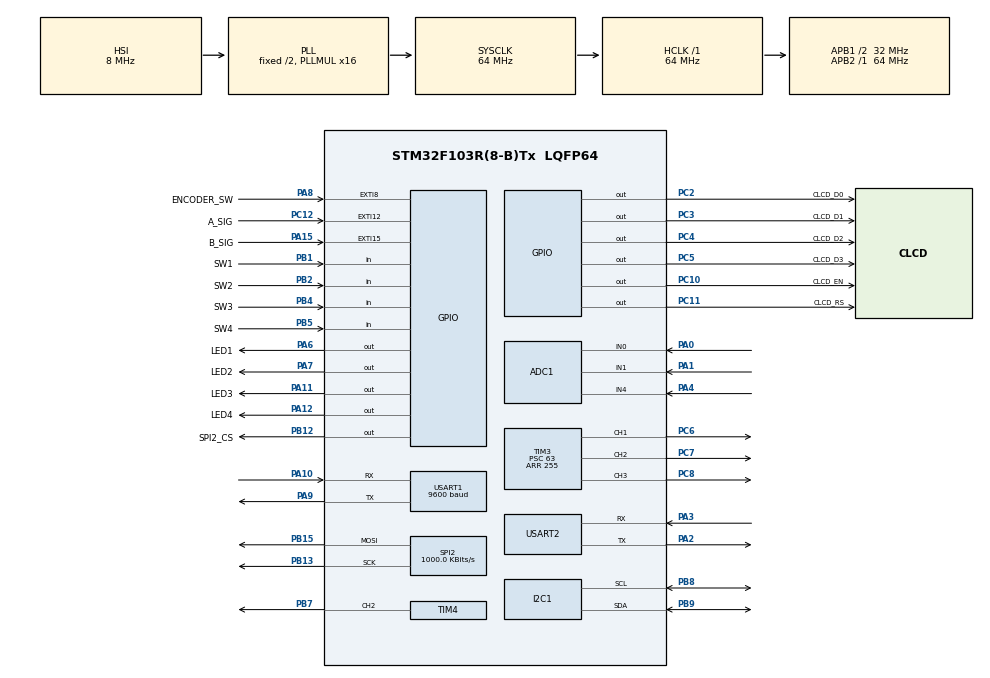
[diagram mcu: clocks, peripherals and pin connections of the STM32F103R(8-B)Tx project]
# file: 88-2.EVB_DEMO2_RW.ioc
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ADC1.Channel-0\#ChannelRegularConversion=ADC_CHANNEL_0
ADC1.Channel-1\#ChannelRegularConversion=ADC_CHANNEL_1
ADC1.Channel-2\#ChannelRegularConversion=ADC_CHANNEL_4
ADC1.ContinuousConvMode=ENABLE
ADC1.NbrOfConversion=3
ADC1.NbrOfConversionFlag=1
ADC1.Rank-0\#ChannelRegularConversion=1
ADC1.Rank-1\#ChannelRegularConversion=2
ADC1.Rank-2\#ChannelRegularConversion=3
ADC1.SamplingTime-0\#ChannelRegularConversion=ADC_SAMPLETIME_239CYCLES_5
ADC1.SamplingTime-1\#ChannelRegularConversion=ADC_SAMPLETIME_239CYCLES_5
ADC1.SamplingTime-2\#ChannelRegularConversion=ADC_SAMPLETIME_239CYCLES_5
ADC1.master=1
Dma.ADC1.0.Direction=DMA_PERIPH_TO_MEMORY
Dma.ADC1.0.Instance=DMA1_Channel1
Dma.ADC1.0.MemDataAlignment=DMA_MDATAALIGN_HALFWORD
Dma.ADC1.0.MemInc=DMA_MINC_ENABLE
Dma.ADC1.0.Mode=DMA_CIRCULAR
Dma.ADC1.0.PeriphDataAlignment=DMA_PDATAALIGN_HALFWORD
Dma.ADC1.0.PeriphInc=DMA_PINC_DISABLE
Dma.ADC1.0.Priority=DMA_PRIORITY_LOW
Dma.Request0=ADC1
I2C1.I2C_Mode=I2C_Fast
Mcu.Family=STM32F1
Mcu.Name=STM32F103R(8-B)Tx
Mcu.Package=LQFP64
NVIC.DMA1_Channel1_IRQn=true\:0\:0\:false\:false\:true\:false\:true\:true
NVIC.EXTI15_10_IRQn=true\:0\:0\:false\:false\:true\:true\:true\:true
NVIC.EXTI9_5_IRQn=true\:0\:0\:false\:false\:true\:true\:true\:true
NVIC.PriorityGroup=NVIC_PRIORITYGROUP_4
NVIC.TIM2_IRQn=true\:0\:0\:false\:false\:true\:true\:true\:true
NVIC.USART1_IRQn=true\:0\:0\:false\:false\:true\:true\:true\:true
NVIC.USART2_IRQn=true\:0\:0\:false\:false\:true\:true\:true\:true
PA0-WKUP.Signal=ADCx_IN0
PA1.Signal=ADCx_IN1
PA10.Mode=Asynchronous
PA10.Signal=USART1_RX
PA11.GPIO_Label=LED3
PA11.Signal=GPIO_Output
PA12.GPIO_Label=LED4
PA12.Signal=GPIO_Output
PA13.Mode=Serial_Wire
PA13.Signal=SYS_JTMS-SWDIO
PA14.Mode=Serial_Wire
PA14.Signal=SYS_JTCK-SWCLK
PA15.GPIO_Label=B_SIG
PA15.Signal=GPXTI15
PA2.Mode=Asynchronous
PA2.Signal=USART2_TX
PA3.Mode=Asynchronous
PA3.Signal=USART2_RX
PA4.Signal=ADCx_IN4
PA6.GPIO_Label=LED1
PA6.Signal=GPIO_Output
PA7.GPIO_Label=LED2
PA7.Signal=GPIO_Output
PA8.GPIO_Label=ENCODER_SW
PA8.GPIO_ModeDefaultEXTI=GPIO_MODE_IT_FALLING
PA8.Signal=GPXTI8
PA9.Mode=Asynchronous
PA9.Signal=USART1_TX
PB1.GPIO_Label=SW1
PB1.Signal=GPIO_Input
PB12.GPIO_Label=SPI2_CS
PB12.Signal=GPIO_Output
PB13.Mode=TX_Only_Simplex_Unidirect_Master
PB13.Signal=SPI2_SCK
PB15.Mode=TX_Only_Simplex_Unidirect_Master
PB15.Signal=SPI2_MOSI
PB2.GPIO_Label=SW2
PB2.Signal=GPIO_Input
PB4.GPIO_Label=SW3
PB4.Signal=GPIO_Input
PB5.GPIO_Label=SW4
PB5.Signal=GPIO_Input
PB7.Signal=S_TIM4_CH2
PB8.Mode=I2C
PB8.Signal=I2C1_SCL
PB9.Mode=I2C
PB9.Signal=I2C1_SDA
PC10.GPIO_Label=CLCD_EN
PC10.Signal=GPIO_Output
PC11.GPIO_Label=CLCD_RS
PC11.Signal=GPIO_Output
PC12.GPIO_Label=A_SIG
PC12.Signal=GPXTI12
PC2.GPIO_Label=CLCD_D0
PC2.Signal=GPIO_Output
PC3.GPIO_Label=CLCD_D1
PC3.Signal=GPIO_Output
PC4.GPIO_Label=CLCD_D2
PC4.Signal=GPIO_Output
PC5.GPIO_Label=CLCD_D3
PC5.Signal=GPIO_Output
PC6.Signal=S_TIM3_CH1
PC7.Signal=S_TIM3_CH2
PC8.Signal=S_TIM3_CH3
ProjectManager.HeapSize=0x200
ProjectManager.StackSize=0x400
ProjectManager.TargetToolchain=STM32CubeIDE
RCC.ADCPresc=RCC_ADCPCLK2_DIV8
RCC.AHBFreq_Value=64000000
RCC.APB1CLKDivider=RCC_HCLK_DIV2
RCC.APB1Freq_Value=32000000
RCC.APB1TimFreq_Value=64000000
RCC.APB2Freq_Value=64000000
RCC.APB2TimFreq_Value=64000000
RCC.HCLKFreq_Value=64000000
RCC.PLLMUL=RCC_PLL_MUL16
RCC.SYSCLKFreq_VALUE=64000000
RCC.SYSCLKSource=RCC_SYSCLKSOURCE_PLLCLK
RCC.USBFreq_Value=64000000
SH.ADCx_IN0.0=ADC1_IN0,IN0
SH.ADCx_IN1.0=ADC1_IN1,IN1
SH.ADCx_IN4.0=ADC1_IN4,IN4
SH.S_TIM3_CH1.0=TIM3_CH1,PWM Generation1 CH1
SH.S_TIM3_CH2.0=TIM3_CH2,PWM Generation2 CH2
SH.S_TIM3_CH3.0=TIM3_CH3,PWM Generation3 CH3
SH.S_TIM4_CH2.0=TIM4_CH2,PWM Generation2 CH2
SPI2.BaudRatePrescaler=SPI_BAUDRATEPRESCALER_32
SPI2.CLKPhase=SPI_PHASE_2EDGE
SPI2.CalculateBaudRate=1000.0 KBits/s
SPI2.Direction=SPI_DIRECTION_2LINES
SPI2.Mode=SPI_MODE_MASTER
SPI2.VirtualType=VM_MASTER
TIM2.AutoReloadPreload=TIM_AUTORELOAD_PRELOAD_ENABLE
TIM2.Period=999
TIM2.Prescaler=63
TIM3.AutoReloadPreload=TIM_AUTORELOAD_PRELOAD_ENABLE
TIM3.Channel-PWM\ Generation1\ CH1=TIM_CHANNEL_1
TIM3.Channel-PWM\ Generation2\ CH2=TIM_CHANNEL_2
TIM3.Channel-PWM\ Generation3\ CH3=TIM_CHANNEL_3
TIM3.CounterMode=TIM_COUNTERMODE_CENTERALIGNED3
TIM3.Period=255
TIM3.Prescaler=63
TIM4.AutoReloadPreload=TIM_AUTORELOAD_PRELOAD_ENABLE
TIM4.Channel-PWM\ Generation2\ CH2=TIM_CHANNEL_2
TIM4.OCPolarity_2=TIM_OCPOLARITY_LOW
TIM4.Period=19999
TIM4.Prescaler=63
TIM4.Pulse-PWM\ Generation2\ CH2=1500
USART1.BaudRate=9600
USART1.VirtualMode=VM_ASYNC
USART2.VirtualMode=VM_ASYNC
VP_TIM2_VS_ClockSourceINT.Mode=Internal
VP_TIM3_VS_ClockSourceINT.Mode=Internal
VP_TIM4_VS_ClockSourceINT.Mode=Internal
board=custom

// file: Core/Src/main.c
/* USER CODE BEGIN Header */
/**
  ******************************************************************************
  * @file           : main.c
  * @brief          : Main program body
  ******************************************************************************
  * @attention
  *
  * Copyright (c) 2026 STMicroelectronics.
  * All rights reserved.
  *
  * This software is licensed under terms that can be found in the LICENSE file
  * in the root directory of this software component.
  * If no LICENSE file comes with this software, it is provided AS-IS.
  *
  ******************************************************************************
  */
/* USER CODE END Header */
#include "main.h"

/* USER CODE BEGIN Includes */
#include <stdio.h>
#include <string.h>
#include "clcd.h"
#include "hdc1080.h"
/* USER CODE END Includes */

/* USER CODE BEGIN PD */
#define STX 0x02
#define R 0x52
#define W 0x57
#define VAR 'V'
#define CDS 'P'
#define TEM 'T'
#define ENCO 'E'
#define SERVO 'S'
#define HD1080 'I'
#define DAC 'D'
#define LED 'L'
#define RGBLED 'M'
#define TSW 'R'
#define CLCD1 '1'
#define CLCD2 '2'
#define ETX 0x03
/* USER CODE END PD */

ADC_HandleTypeDef hadc1;
DMA_HandleTypeDef hdma_adc1;

I2C_HandleTypeDef hi2c1;

SPI_HandleTypeDef hspi2;

TIM_HandleTypeDef htim2;
TIM_HandleTypeDef htim3;
TIM_HandleTypeDef htim4;

UART_HandleTypeDef huart1;
UART_HandleTypeDef huart2;

/* USER CODE BEGIN PV */
//알고리즘 변수
uint8_t sendbuf[10] = {0};
uint8_t P_index = 0;
uint8_t s_index = 0;
uint8_t count =0;

char debouncing_flag = 0;
uint32_t last_time = 0;

uint8_t rx_data1;
uint8_t rx_data2;
uint8_t rx_buffer1[50];
char rx_buffer2[50];
uint8_t rx_index2 = 0;
uint8_t rx_index1 = 0;
volatile uint8_t RX_flag1 = 0;
volatile uint8_t RX_flag2 = 0;

uint16_t DAC_data;
short SERVO_data;
int ENCO_data;
uint32_t W_led_data; // W
uint32_t led_data;

uint8_t led1;
uint8_t led2;
uint8_t led3;
uint8_t led4;

uint16_t servo_pulse = 0;
float DAC_V = 0.0;

char CLCD1_data[17];
char CLCD2_data[17];

char sbuf1[17] = {0};
char sbuf2[17] = {0};
int j = 0;

unsigned char R_LED_data;
unsigned char G_LED_data;
unsigned char B_LED_data;

uint32_t print_pretime =0;

//TC1047
float temp_send;
uint32_t TC1047_temp_data;
int adc_done_flag =0;

//ADC
volatile uint16_t ADC_value[3] = {0};

//HDC1080
float HDC1080_temp;
float temp;
uint8_t humi, bat_stat;
uint32_t HDC1080_temp_data;

//SW_LED
uint8_t LED_data[4];
char sw1_flag = 0 ;
char sw2_flag = 0 ;
char sw3_flag = 0 ;
char sw4_flag = 0 ;
uint32_t sw1_pretime = 0 ;
uint32_t sw2_pretime = 0 ;
uint32_t sw3_pretime = 0 ;
uint32_t sw4_pretime = 0 ;

//encoder
volatile int E_count;
volatile int preE_count =0;

//led
uint8_t T_SW[4];
uint8_t LED_data[4];

//3rgb
uint16_t gtimepulse[3];

//time
uint32_t TimerCount;
char act_mode = 0;

uint16_t packet_length = 0;  // ETX가 있어야 할 인덱스 = 길이 + 4
uint8_t calculate_cout = 0;  // 길이 바이트로 ETX 위치를 계산했는지
/* USER CODE END PV */

void SystemClock_Config(void);
static void MX_GPIO_Init(void);
static void MX_DMA_Init(void);
static void MX_ADC1_Init(void);
static void MX_USART1_UART_Init(void);
static void MX_USART2_UART_Init(void);
static void MX_I2C1_Init(void);
static void MX_TIM3_Init(void);
static void MX_TIM2_Init(void);
static void MX_TIM4_Init(void);
static void MX_SPI2_Init(void);
/* USER CODE BEGIN PFP */
void __io_putchar(int ch)
{
	if(ch == '\n')
	{
		HAL_UART_Transmit (&huart2, (uint8_t*) "\r", 1, 0xffff);
	}

	HAL_UART_Transmit (&huart2, (uint8_t*) &ch, 1, 0xffff);
}
void DAC7512_write (unsigned short data)
{
    uint8_t buff[2];
    HAL_GPIO_WritePin(SPI2_CS_GPIO_Port, SPI2_CS_Pin, GPIO_PIN_RESET); //cs chip selct을 low로 선택
    buff[0] = (uint8_t) (data >> 8);
    buff[1] = (uint8_t) data;
    HAL_SPI_Transmit(&hspi2, buff, 2, 1000); // 할함수 spi로 전송 spi2로 buff 배열을 2바이트만큼 1000ms 기둘
    HAL_GPIO_WritePin(SPI2_CS_GPIO_Port, SPI2_CS_Pin, GPIO_PIN_SET); //cs chip selct을 high로 선택
}
/* USER CODE END PFP */

/* USER CODE BEGIN 0 */
// R 패킷(MCU → 앱) 확인용 디버그 로그: 1이면 보낸 패킷을 USART2(Tera Term)에 16진수로 출력
// 평소에는 0 (50 ms마다 출력되면 W 패킷 로그가 묻힘)
#define R_LOG 0
static void R_LOG_PRINT(uint8_t *buf, uint8_t len)
{
#if R_LOG
	printf("R> ");
	for (int i = 0; i < len; i++) printf("%02X ", buf[i]);
	printf("\n");
#endif
}

/* USER CODE END 0 */

int main(void)
{

  /* MCU Configuration--------------------------------------------------------*/

  /* Reset of all peripherals, Initializes the Flash interface and the Systick. */
  HAL_Init();

  /* Configure the system clock */
  SystemClock_Config();

  /* Initialize all configured peripherals */
  MX_GPIO_Init();
  MX_DMA_Init();
  MX_ADC1_Init();
  MX_USART1_UART_Init();
  MX_USART2_UART_Init();
  MX_I2C1_Init();
  MX_TIM3_Init();
  MX_TIM2_Init();
  MX_TIM4_Init();
  MX_SPI2_Init();
  /* USER CODE BEGIN 2 */
  printf("88-2.EVB_DEMO2_RW\n");
  HAL_UART_Receive_IT(&huart1, &rx_data1, 1); //uart1 it

  HAL_TIM_Base_Start_IT (&htim2); // 50ms 마다 packet 보내기

  HAL_ADCEx_Calibration_Start(&hadc1);
  HAL_ADC_Start_DMA(&hadc1, (uint32_t *)ADC_value, 3);

  CLCD_Init(16,2);
  hdc1080_init (&hi2c1, HDC1080_T_RES_14, HDC1080_RH_RES_14,1,&bat_stat);

  HAL_TIM_PWM_Start(&htim4,TIM_CHANNEL_2); //SERVO
  HAL_TIM_PWM_Start(&htim3, TIM_CHANNEL_1); //삼색 led
  HAL_TIM_PWM_Start(&htim3, TIM_CHANNEL_2);
  HAL_TIM_PWM_Start(&htim3, TIM_CHANNEL_3);

  int SW1_state_pre = HAL_GPIO_ReadPin(SW1_GPIO_Port, SW1_Pin);
  int SW2_state_pre = HAL_GPIO_ReadPin(SW2_GPIO_Port, SW2_Pin);
  int SW3_state_pre = HAL_GPIO_ReadPin(SW3_GPIO_Port, SW3_Pin);
  int SW4_state_pre = HAL_GPIO_ReadPin(SW4_GPIO_Port, SW4_Pin);

  DAC7512_write(0);

  /* USER CODE END 2 */

  /* Infinite loop */
  /* USER CODE BEGIN WHILE */
  while (1)
  {
	  //R 부분
	  hdc1080_measure(&hi2c1, &temp, &humi);
	  HDC1080_temp_data = *(uint32_t*) &temp;// 메모리커피 함수와 같은 논리 주소값을 그대로 가져오되, 포인터 형변환을 통해 시프트 연산은 되게하는 코드

	  temp_send = (((float)ADC_value[2] / 4096) * 3.3 - 0.5) * 100;
	  TC1047_temp_data = *(uint32_t*) &temp_send;

//	  if(HAL_GetTick() - print_pretime > 300)
//	  {
//		  printf("temp = %2.2f humid = %3d\n", temp,humi);
//		  printf("ADC= %d ",ADC_value[0]);
//		  printf("CDS= %d ",ADC_value[1]);
//		  printf("TEM= %f\n ",temp_send);
//		  print_pretime = HAL_GetTick();
//	  }

	  int SW1_state_cur = HAL_GPIO_ReadPin(SW1_GPIO_Port, SW1_Pin);
	  int SW2_state_cur = HAL_GPIO_ReadPin(SW2_GPIO_Port, SW2_Pin);
	  int SW3_state_cur = HAL_GPIO_ReadPin(SW3_GPIO_Port, SW3_Pin);
	  int SW4_state_cur = HAL_GPIO_ReadPin(SW4_GPIO_Port, SW4_Pin);

	  if((SW1_state_pre != SW1_state_cur) || (SW2_state_pre != SW2_state_cur)||(SW3_state_pre != SW3_state_cur)||(SW4_state_pre != SW4_state_cur))
	  {
		  uint32_t current_time = HAL_GetTick();
		  if(debouncing_flag == 0)
		  {
			  debouncing_flag = 1;
			  last_time = current_time;
		  }
		  else
		  {
			  if((current_time - last_time) >= 100)
			  {
				  debouncing_flag = 0;
				  SW1_state_pre = SW1_state_cur;
				  SW2_state_pre = SW2_state_cur;
				  SW3_state_pre = SW3_state_cur;
				  SW4_state_pre = SW4_state_cur;

				  if(SW1_state_cur == GPIO_PIN_RESET)
				  {
					  printf("Pushed SW1\n");
					  T_SW[0] = 0x01;
					  HAL_GPIO_TogglePin(LED1_GPIO_Port,LED1_Pin);
				  }
				  else T_SW[0] = 0x00;

				  if(SW2_state_cur == GPIO_PIN_RESET)
				  {
					  printf("Pushed SW2\n");
					  T_SW[1] = 0x01;
					  HAL_GPIO_TogglePin(LED2_GPIO_Port,LED2_Pin);
				  }
				  else T_SW[1] = 0x00;

				  if(SW3_state_cur == GPIO_PIN_RESET)
				  {
					  printf("Pushed SW3\n");
					  T_SW[2] = 0x01;
					  HAL_GPIO_TogglePin(LED3_GPIO_Port,LED3_Pin);
				  }
				  else T_SW[2] = 0x00;

				  if(SW4_state_cur == GPIO_PIN_RESET)
				  {
					  printf("Pushed SW4\n");
					  T_SW[3] = 0x01;
					  HAL_GPIO_TogglePin(LED4_GPIO_Port,LED4_Pin);
				  }
				  else T_SW[3] = 0x00;
			  }
		  }
	  }

	  if(HAL_GPIO_ReadPin(LED1_GPIO_Port, LED1_Pin) == GPIO_PIN_SET)
	  {
		  LED_data[0] = 0x01;
	  }
	  else
	  {
		  LED_data[0] = 0x00;
	  }

	  if(HAL_GPIO_ReadPin(LED2_GPIO_Port, LED2_Pin) == GPIO_PIN_SET)
	  {
		  LED_data[1] = 0x01;
	  }
	  else
	  {
		  LED_data[1] = 0x00;
	  }

	  if(HAL_GPIO_ReadPin(LED3_GPIO_Port, LED3_Pin) == GPIO_PIN_SET)
	  {
		  LED_data[2] = 0x01;
	  }
	  else
	  {
		  LED_data[2] = 0x00;
	  }

	  if(HAL_GPIO_ReadPin(LED4_GPIO_Port, LED4_Pin) == GPIO_PIN_SET)
	  {
		  LED_data[3] = 0x01;
	  }
	  else
	  {
		  LED_data[3] = 0x00;
	  }

	  if(act_mode == 1)
	  {
		  act_mode=0;

		  switch (count)
		 {
			 case 0:// 가변저항
				 P_index = 0;
				 sendbuf[P_index++] = STX;
				 sendbuf[P_index++] = R;
				 sendbuf[P_index++] = VAR;
				 sendbuf[P_index++] = 2;
				 sendbuf[P_index++] = ADC_value[0];
				 sendbuf[P_index++] = ADC_value[0] >> 8;
				 sendbuf[P_index++] = ETX;
				 HAL_UART_Transmit(&huart1, sendbuf, P_index, 50);
				 R_LOG_PRINT(sendbuf, P_index);
				 count++;
				 break;

			 case 1:// CDS
				 P_index = 0;
				 sendbuf[P_index++] = STX;
				 sendbuf[P_index++] = R;
				 sendbuf[P_index++] = CDS;
				 sendbuf[P_index++] = 2;
				 sendbuf[P_index++] = ADC_value[1];
				 sendbuf[P_index++] = ADC_value[1] >> 8;
				 sendbuf[P_index++] = ETX;
				 HAL_UART_Transmit(&huart1, sendbuf, P_index, 50);
				 R_LOG_PRINT(sendbuf, P_index);
				 count++;
				 break;

			 case 2:// TC1047
				 P_index = 0;
				 sendbuf[P_index++] = STX;
				 sendbuf[P_index++] = R;
				 sendbuf[P_index++] = TEM;
				 sendbuf[P_index++] = 4;
				 sendbuf[P_index++] = TC1047_temp_data;
				 sendbuf[P_index++] = TC1047_temp_data >> 8;
				 sendbuf[P_index++] = TC1047_temp_data >> 16;
				 sendbuf[P_index++] = TC1047_temp_data >> 24;
				 sendbuf[P_index++] = ETX;
				 HAL_UART_Transmit(&huart1, sendbuf, P_index, 50);
				 R_LOG_PRINT(sendbuf, P_index);
				 count++;
				 break;

			 case 3:// HDC1080
				 P_index = 0;
				 sendbuf[P_index++] = STX;
				 sendbuf[P_index++] = R;
				 sendbuf[P_index++] = HD1080;
				 sendbuf[P_index++] = 5;
				 sendbuf[P_index++] = HDC1080_temp_data;
				 sendbuf[P_index++] = HDC1080_temp_data >> 8;
				 sendbuf[P_index++] = HDC1080_temp_data >> 16;
				 sendbuf[P_index++] = HDC1080_temp_data >> 24;
				 sendbuf[P_index++] = humi;
				 sendbuf[P_index++] = ETX;
				 HAL_UART_Transmit(&huart1, sendbuf, P_index, 50);
				 R_LOG_PRINT(sendbuf, P_index);
				 count++;
				 break;

			 case 4:// 택트 스위치
				 P_index = 0;
				 sendbuf[P_index++] = STX;
				 sendbuf[P_index++] = R;
				 sendbuf[P_index++] = TSW;
				 sendbuf[P_index++] = 4;
				 sendbuf[P_index++] = T_SW[3];
				 sendbuf[P_index++] = T_SW[2];
				 sendbuf[P_index++] = T_SW[1];
				 sendbuf[P_index++] = T_SW[0];
				 sendbuf[P_index++] = ETX;
				 HAL_UART_Transmit(&huart1, sendbuf, P_index, 50);
				 R_LOG_PRINT(sendbuf, P_index);
				 count++;
				 break;

			 case 5:// LED
				 P_index = 0;
				 sendbuf[P_index++] = STX;
				 sendbuf[P_index++] = R;
				 sendbuf[P_index++] = 'L';
				 sendbuf[P_index++] = 4;
				 sendbuf[P_index++] = LED_data[3];
				 sendbuf[P_index++] = LED_data[2];
				 sendbuf[P_index++] = LED_data[1];
				 sendbuf[P_index++] = LED_data[0];
				 sendbuf[P_index++] = ETX;
				 HAL_UART_Transmit(&huart1, sendbuf, P_index, 50);
				 R_LOG_PRINT(sendbuf, P_index);
				 count++;
				 break;

			 case 6:// 엔코더
				 P_index = 0;
				 sendbuf[P_index++] = STX;
				 sendbuf[P_index++] = R;
				 sendbuf[P_index++] = ENCO;
				 sendbuf[P_index++] = 4;
				 sendbuf[P_index++] = E_count;
				 sendbuf[P_index++] = E_count >> 8;
				 sendbuf[P_index++] = E_count >> 16;
				 sendbuf[P_index++] = E_count >> 24;
				 sendbuf[P_index++] = ETX;
				 HAL_UART_Transmit(&huart1, sendbuf, P_index, 50);
				 R_LOG_PRINT(sendbuf, P_index);
				 count = 0;
				 break;

			 default:
				 count = 0;
				 break;
		 }
	  }

	  //W 부분
	  if (RX_flag1 == 1)
	  {
		  P_index =0;
		  printf("\n\n");
		  for (int i = 0; i < rx_index1; i++)
		  {
			  printf("%02X ", rx_buffer1[i]);
		  }
		  printf("\n");
		  // rx_index1 = 0, RX_flag1 = 0은 해석이 끝난 뒤(switch 아래)로 옮김
		  // → 해석하는 동안 ISR이 같은 버퍼에 다음 패킷을 덮어쓰지 않음

		  if(rx_buffer1[P_index++] == STX) printf("STX_OK\n");
		  if(rx_buffer1[P_index++] == W) printf("W_OK\n");

		  switch (rx_buffer1[P_index++])
		  {
			  case LED:
				  printf("LED_OK\n");
				  if(rx_buffer1[P_index++] == 4) printf("DATABYTE_OK\n");
				  if(rx_buffer1[P_index + rx_buffer1[P_index-1]] == ETX) printf("ETX_OK\n");

				  led4 = rx_buffer1[P_index++];
				  if(led4 == 1) HAL_GPIO_WritePin(LED1_GPIO_Port,LED1_Pin,GPIO_PIN_SET);
				  else HAL_GPIO_WritePin(LED1_GPIO_Port,LED1_Pin,GPIO_PIN_RESET);

				  led3 = rx_buffer1[P_index++];
				  if(led3 == 1) HAL_GPIO_WritePin(LED2_GPIO_Port,LED2_Pin,GPIO_PIN_SET);
				  else HAL_GPIO_WritePin(LED2_GPIO_Port,LED2_Pin,GPIO_PIN_RESET);

				  led2 = rx_buffer1[P_index++];
				  if(led2 == 1) HAL_GPIO_WritePin(LED3_GPIO_Port,LED3_Pin,GPIO_PIN_SET);
				  else HAL_GPIO_WritePin(LED3_GPIO_Port,LED3_Pin,GPIO_PIN_RESET);

				  led1 =  rx_buffer1[P_index];
				  if(led1 == 1) HAL_GPIO_WritePin(LED4_GPIO_Port,LED4_Pin,GPIO_PIN_SET);
				  else HAL_GPIO_WritePin(LED4_GPIO_Port,LED4_Pin,GPIO_PIN_RESET);

				  break;

//				  W_led_data = (uint32_t)(rx_buffer1[P_index])
//							|(uint32_t)(rx_buffer1[P_index + 1] << 8)
//							|(uint32_t)(rx_buffer1[P_index + 2] << 16)
//							|(uint32_t)(rx_buffer1[P_index + 3] << 24);
//				  led1 = (uint8_t)(W_led_data);
//				  led2 = (uint8_t)(W_led_data >> 8);
//				  led3 = (uint8_t)(W_led_data >> 16);
//				  led4 = (uint8_t)(W_led_data >> 24);
//				  break;

			case ENCO:
				printf("ENDCODER_OK\n");
				if(rx_buffer1[P_index++] == 4) printf("DATABYTE_OK\n");
				if(rx_buffer1[P_index + rx_buffer1[P_index-1]] == ETX) printf("ETX_OK\n");
				ENCO_data =  (int)(rx_buffer1[P_index])
							|(int)(rx_buffer1[P_index + 1] << 8)
							|(int)(rx_buffer1[P_index + 2] << 16)
							|(int)(rx_buffer1[P_index + 3] << 24); // 순서바꿔서
				sendbuf[s_index++] = STX;
				sendbuf[s_index++] = R;
				sendbuf[s_index++] = ENCO;
				sendbuf[s_index++] = 4;
				sendbuf[s_index++] = ENCO_data;
				sendbuf[s_index++] = ENCO_data >> 8;
				sendbuf[s_index++] = ENCO_data >> 16;
				sendbuf[s_index++] = ENCO_data >> 24;
				sendbuf[s_index++] = ETX;
				HAL_UART_Transmit(&huart1, sendbuf, s_index, 50);
				E_count = ENCO_data;
				s_index = 0;
				break;

			case SERVO:
				printf("SERVO_OK\n");
				if(rx_buffer1[P_index++] == 2) printf("DATABYTE_OK\n");
				if(rx_buffer1[P_index + rx_buffer1[P_index-1]] == ETX) printf("ETX_OK\n");
				SERVO_data =   (short)(rx_buffer1[P_index])
							  |(short)(rx_buffer1[P_index + 1] << 8);

				servo_pulse = 550 + ((SERVO_data + 90) * (2360 - 550) / 180); //공식은 변수로 1degree =  펄스값 // 550 = angle_0 define 해서 시각적으로
				 __HAL_TIM_SET_COMPARE(&htim4,TIM_CHANNEL_2, servo_pulse);
				break;

			case DAC:
				printf("DAC_OK\n");
				if(rx_buffer1[P_index++] == 2) printf("DATABYTE_OK\n");
				if(rx_buffer1[P_index + rx_buffer1[P_index-1]] == ETX) printf("ETX_OK\n");
				DAC_data =   (uint16_t)(rx_buffer1[P_index])
							|(uint16_t)(rx_buffer1[P_index + 1] << 8);
				DAC7512_write(DAC_data);
				DAC_V = ((float)DAC_data * 3.3) / 4096.0;
				printf("%.2fV\n",DAC_V);
				break;

			  case RGBLED: // 'M'
				  printf("RGBLED_OK\n");
				  if(rx_buffer1[P_index++] == 3) printf("DATABYTE_OK\n");
				  if(rx_buffer1[P_index + rx_buffer1[P_index-1]] == ETX) printf("ETX_OK\n");

				  B_LED_data = (unsigned char)(rx_buffer1[P_index]);
				  G_LED_data = (unsigned char)(rx_buffer1[P_index + 1]);
				  R_LED_data = (unsigned char)(rx_buffer1[P_index + 2]);

				  __HAL_TIM_SET_COMPARE(&htim3, TIM_CHANNEL_1,B_LED_data);
				  __HAL_TIM_SET_COMPARE(&htim3, TIM_CHANNEL_2,R_LED_data);
				  __HAL_TIM_SET_COMPARE(&htim3, TIM_CHANNEL_3,G_LED_data);
				  break;

			case CLCD1:
				printf("CLCD1_OK\n");
				CLCD_Puts(0, 0, "                ");
				j = 0;
				if(rx_buffer1[P_index++] == 16) printf("DATABYTE_OK\n");
				if(rx_buffer1[P_index + rx_buffer1[P_index-1]] == ETX) printf("ETX_OK\n");
				for(int i = 15; i >= 0; i--)
				{
					CLCD1_data[j++] = rx_buffer1[P_index + i];
				}
				CLCD1_data[j] = '\0';
				printf("CLCD1 = %s\n", CLCD1_data);
				CLCD_Puts(0, 0, CLCD1_data);
			  break;

			case CLCD2:
				printf("CLCD2_OK\n");
				CLCD_Puts(0, 1, "                ");
				j=0;
				if(rx_buffer1[P_index++] == 16) printf("DATABYTE_OK\n");
				if(rx_buffer1[P_index + rx_buffer1[P_index-1]] == ETX) printf("ETX_OK\n");
				for(int i = 15; i >= 0; i--)
				{
					CLCD2_data[j++] = rx_buffer1[P_index + i];
				}
				CLCD2_data[j] = '\0';
				printf("CLCD2 = %s\n", CLCD2_data);
				CLCD_Puts(0, 1, CLCD2_data);
			  break;

			default:
				printf("NO_DEVICE\n");
				break;
		  }

		  // 해석이 끝난 뒤에 다음 패킷 수신 허용 (순서 중요: 인덱스 먼저, 플래그 나중)
		  rx_index1 = 0;
		  RX_flag1 = 0;
	  }
    /* USER CODE END WHILE */

  }
}

void SystemClock_Config(void)
{
  RCC_OscInitTypeDef RCC_OscInitStruct = {0};
  RCC_ClkInitTypeDef RCC_ClkInitStruct = {0};
  RCC_PeriphCLKInitTypeDef PeriphClkInit = {0};

  /** Initializes the RCC Oscillators according to the specified parameters
  * in the RCC_OscInitTypeDef structure.
  */
  RCC_OscInitStruct.OscillatorType = RCC_OSCILLATORTYPE_HSI;
  RCC_OscInitStruct.HSIState = RCC_HSI_ON;
  RCC_OscInitStruct.HSICalibrationValue = RCC_HSICALIBRATION_DEFAULT;
  RCC_OscInitStruct.PLL.PLLState = RCC_PLL_ON;
  RCC_OscInitStruct.PLL.PLLSource = RCC_PLLSOURCE_HSI_DIV2;
  RCC_OscInitStruct.PLL.PLLMUL = RCC_PLL_MUL16;
  if (HAL_RCC_OscConfig(&RCC_OscInitStruct) != HAL_OK)
  {
    Error_Handler();
  }

  /** Initializes the CPU, AHB and APB buses clocks
  */
  RCC_ClkInitStruct.ClockType = RCC_CLOCKTYPE_HCLK|RCC_CLOCKTYPE_SYSCLK
                              |RCC_CLOCKTYPE_PCLK1|RCC_CLOCKTYPE_PCLK2;
  RCC_ClkInitStruct.SYSCLKSource = RCC_SYSCLKSOURCE_PLLCLK;
  RCC_ClkInitStruct.AHBCLKDivider = RCC_SYSCLK_DIV1;
  RCC_ClkInitStruct.APB1CLKDivider = RCC_HCLK_DIV2;
  RCC_ClkInitStruct.APB2CLKDivider = RCC_HCLK_DIV1;

  if (HAL_RCC_ClockConfig(&RCC_ClkInitStruct, FLASH_LATENCY_2) != HAL_OK)
  {
    Error_Handler();
  }
  PeriphClkInit.PeriphClockSelection = RCC_PERIPHCLK_ADC;
  PeriphClkInit.AdcClockSelection = RCC_ADCPCLK2_DIV8;
  if (HAL_RCCEx_PeriphCLKConfig(&PeriphClkInit) != HAL_OK)
  {
    Error_Handler();
  }
}

static void MX_ADC1_Init(void)
{

  ADC_ChannelConfTypeDef sConfig = {0};

  /** Common config
  */
  hadc1.Instance = ADC1;
  hadc1.Init.ScanConvMode = ADC_SCAN_ENABLE;
  hadc1.Init.ContinuousConvMode = ENABLE;
  hadc1.Init.DiscontinuousConvMode = DISABLE;
  hadc1.Init.ExternalTrigConv = ADC_SOFTWARE_START;
  hadc1.Init.DataAlign = ADC_DATAALIGN_RIGHT;
  hadc1.Init.NbrOfConversion = 3;
  if (HAL_ADC_Init(&hadc1) != HAL_OK)
  {
    Error_Handler();
  }

  /** Configure Regular Channel
  */
  sConfig.Channel = ADC_CHANNEL_0;
  sConfig.Rank = ADC_REGULAR_RANK_1;
  sConfig.SamplingTime = ADC_SAMPLETIME_239CYCLES_5;
  if (HAL_ADC_ConfigChannel(&hadc1, &sConfig) != HAL_OK)
  {
    Error_Handler();
  }

  /** Configure Regular Channel
  */
  sConfig.Channel = ADC_CHANNEL_1;
  sConfig.Rank = ADC_REGULAR_RANK_2;
  if (HAL_ADC_ConfigChannel(&hadc1, &sConfig) != HAL_OK)
  {
    Error_Handler();
  }

  /** Configure Regular Channel
  */
  sConfig.Channel = ADC_CHANNEL_4;
  sConfig.Rank = ADC_REGULAR_RANK_3;
  if (HAL_ADC_ConfigChannel(&hadc1, &sConfig) != HAL_OK)
  {
    Error_Handler();
  }

}

static void MX_I2C1_Init(void)
{

  hi2c1.Instance = I2C1;
  hi2c1.Init.ClockSpeed = 400000;
  hi2c1.Init.DutyCycle = I2C_DUTYCYCLE_2;
  hi2c1.Init.OwnAddress1 = 0;
  hi2c1.Init.AddressingMode = I2C_ADDRESSINGMODE_7BIT;
  hi2c1.Init.DualAddressMode = I2C_DUALADDRESS_DISABLE;
  hi2c1.Init.OwnAddress2 = 0;
  hi2c1.Init.GeneralCallMode = I2C_GENERALCALL_DISABLE;
  hi2c1.Init.NoStretchMode = I2C_NOSTRETCH_DISABLE;
  if (HAL_I2C_Init(&hi2c1) != HAL_OK)
  {
    Error_Handler();
  }

}

static void MX_SPI2_Init(void)
{

  /* SPI2 parameter configuration*/
  hspi2.Instance = SPI2;
  hspi2.Init.Mode = SPI_MODE_MASTER;
  hspi2.Init.Direction = SPI_DIRECTION_2LINES;
  hspi2.Init.DataSize = SPI_DATASIZE_8BIT;
  hspi2.Init.CLKPolarity = SPI_POLARITY_LOW;
  hspi2.Init.CLKPhase = SPI_PHASE_2EDGE;
  hspi2.Init.NSS = SPI_NSS_SOFT;
  hspi2.Init.BaudRatePrescaler = SPI_BAUDRATEPRESCALER_32;
  hspi2.Init.FirstBit = SPI_FIRSTBIT_MSB;
  hspi2.Init.TIMode = SPI_TIMODE_DISABLE;
  hspi2.Init.CRCCalculation = SPI_CRCCALCULATION_DISABLE;
  hspi2.Init.CRCPolynomial = 10;
  if (HAL_SPI_Init(&hspi2) != HAL_OK)
  {
    Error_Handler();
  }

}

static void MX_TIM2_Init(void)
{

  TIM_ClockConfigTypeDef sClockSourceConfig = {0};
  TIM_MasterConfigTypeDef sMasterConfig = {0};

  htim2.Instance = TIM2;
  htim2.Init.Prescaler = 63;
  htim2.Init.CounterMode = TIM_COUNTERMODE_UP;
  htim2.Init.Period = 999;
  htim2.Init.ClockDivision = TIM_CLOCKDIVISION_DIV1;
  htim2.Init.AutoReloadPreload = TIM_AUTORELOAD_PRELOAD_ENABLE;
  if (HAL_TIM_Base_Init(&htim2) != HAL_OK)
  {
    Error_Handler();
  }
  sClockSourceConfig.ClockSource = TIM_CLOCKSOURCE_INTERNAL;
  if (HAL_TIM_ConfigClockSource(&htim2, &sClockSourceConfig) != HAL_OK)
  {
    Error_Handler();
  }
  sMasterConfig.MasterOutputTrigger = TIM_TRGO_RESET;
  sMasterConfig.MasterSlaveMode = TIM_MASTERSLAVEMODE_DISABLE;
  if (HAL_TIMEx_MasterConfigSynchronization(&htim2, &sMasterConfig) != HAL_OK)
  {
    Error_Handler();
  }

}

static void MX_TIM3_Init(void)
{

  TIM_ClockConfigTypeDef sClockSourceConfig = {0};
  TIM_MasterConfigTypeDef sMasterConfig = {0};
  TIM_OC_InitTypeDef sConfigOC = {0};

  htim3.Instance = TIM3;
  htim3.Init.Prescaler = 63;
  htim3.Init.CounterMode = TIM_COUNTERMODE_CENTERALIGNED3;
  htim3.Init.Period = 255;
  htim3.Init.ClockDivision = TIM_CLOCKDIVISION_DIV1;
  htim3.Init.AutoReloadPreload = TIM_AUTORELOAD_PRELOAD_ENABLE;
  if (HAL_TIM_Base_Init(&htim3) != HAL_OK)
  {
    Error_Handler();
  }
  sClockSourceConfig.ClockSource = TIM_CLOCKSOURCE_INTERNAL;
  if (HAL_TIM_ConfigClockSource(&htim3, &sClockSourceConfig) != HAL_OK)
  {
    Error_Handler();
  }
  if (HAL_TIM_PWM_Init(&htim3) != HAL_OK)
  {
    Error_Handler();
  }
  sMasterConfig.MasterOutputTrigger = TIM_TRGO_RESET;
  sMasterConfig.MasterSlaveMode = TIM_MASTERSLAVEMODE_DISABLE;
  if (HAL_TIMEx_MasterConfigSynchronization(&htim3, &sMasterConfig) != HAL_OK)
  {
    Error_Handler();
  }
  sConfigOC.OCMode = TIM_OCMODE_PWM1;
  sConfigOC.Pulse = 0;
  sConfigOC.OCPolarity = TIM_OCPOLARITY_HIGH;
  sConfigOC.OCFastMode = TIM_OCFAST_DISABLE;
  if (HAL_TIM_PWM_ConfigChannel(&htim3, &sConfigOC, TIM_CHANNEL_1) != HAL_OK)
  {
    Error_Handler();
  }
  if (HAL_TIM_PWM_ConfigChannel(&htim3, &sConfigOC, TIM_CHANNEL_2) != HAL_OK)
  {
    Error_Handler();
  }
  if (HAL_TIM_PWM_ConfigChannel(&htim3, &sConfigOC, TIM_CHANNEL_3) != HAL_OK)
  {
    Error_Handler();
  }
  HAL_TIM_MspPostInit(&htim3);

}

static void MX_TIM4_Init(void)
{

  TIM_ClockConfigTypeDef sClockSourceConfig = {0};
  TIM_MasterConfigTypeDef sMasterConfig = {0};
  TIM_OC_InitTypeDef sConfigOC = {0};

  htim4.Instance = TIM4;
  htim4.Init.Prescaler = 63;
  htim4.Init.CounterMode = TIM_COUNTERMODE_UP;
  htim4.Init.Period = 19999;
  htim4.Init.ClockDivision = TIM_CLOCKDIVISION_DIV1;
  htim4.Init.AutoReloadPreload = TIM_AUTORELOAD_PRELOAD_ENABLE;
  if (HAL_TIM_Base_Init(&htim4) != HAL_OK)
  {
    Error_Handler();
  }
  sClockSourceConfig.ClockSource = TIM_CLOCKSOURCE_INTERNAL;
  if (HAL_TIM_ConfigClockSource(&htim4, &sClockSourceConfig) != HAL_OK)
  {
    Error_Handler();
  }
  if (HAL_TIM_PWM_Init(&htim4) != HAL_OK)
  {
    Error_Handler();
  }
  sMasterConfig.MasterOutputTrigger = TIM_TRGO_RESET;
  sMasterConfig.MasterSlaveMode = TIM_MASTERSLAVEMODE_DISABLE;
  if (HAL_TIMEx_MasterConfigSynchronization(&htim4, &sMasterConfig) != HAL_OK)
  {
    Error_Handler();
  }
  sConfigOC.OCMode = TIM_OCMODE_PWM1;
  sConfigOC.Pulse = 1500;
  sConfigOC.OCPolarity = TIM_OCPOLARITY_LOW;
  sConfigOC.OCFastMode = TIM_OCFAST_DISABLE;
  if (HAL_TIM_PWM_ConfigChannel(&htim4, &sConfigOC, TIM_CHANNEL_2) != HAL_OK)
  {
    Error_Handler();
  }
  HAL_TIM_MspPostInit(&htim4);

}

static void MX_USART1_UART_Init(void)
{

  huart1.Instance = USART1;
  huart1.Init.BaudRate = 9600;
  huart1.Init.WordLength = UART_WORDLENGTH_8B;
  huart1.Init.StopBits = UART_STOPBITS_1;
  huart1.Init.Parity = UART_PARITY_NONE;
  huart1.Init.Mode = UART_MODE_TX_RX;
  huart1.Init.HwFlowCtl = UART_HWCONTROL_NONE;
  huart1.Init.OverSampling = UART_OVERSAMPLING_16;
  if (HAL_UART_Init(&huart1) != HAL_OK)
  {
    Error_Handler();
  }

}

static void MX_USART2_UART_Init(void)
{

  huart2.Instance = USART2;
  huart2.Init.BaudRate = 115200;
  huart2.Init.WordLength = UART_WORDLENGTH_8B;
  huart2.Init.StopBits = UART_STOPBITS_1;
  huart2.Init.Parity = UART_PARITY_NONE;
  huart2.Init.Mode = UART_MODE_TX_RX;
  huart2.Init.HwFlowCtl = UART_HWCONTROL_NONE;
  huart2.Init.OverSampling = UART_OVERSAMPLING_16;
  if (HAL_UART_Init(&huart2) != HAL_OK)
  {
    Error_Handler();
  }

}

static void MX_DMA_Init(void)
{

  /* DMA controller clock enable */
  __HAL_RCC_DMA1_CLK_ENABLE();

  /* DMA interrupt init */
  /* DMA1_Channel1_IRQn interrupt configuration */
  HAL_NVIC_SetPriority(DMA1_Channel1_IRQn, 0, 0);
  HAL_NVIC_EnableIRQ(DMA1_Channel1_IRQn);

}

static void MX_GPIO_Init(void)
{
  GPIO_InitTypeDef GPIO_InitStruct = {0};

  /* GPIO Ports Clock Enable */
  __HAL_RCC_GPIOC_CLK_ENABLE();
  __HAL_RCC_GPIOA_CLK_ENABLE();
  __HAL_RCC_GPIOB_CLK_ENABLE();

  /*Configure GPIO pin Output Level */
  HAL_GPIO_WritePin(GPIOC, CLCD_D0_Pin|CLCD_D1_Pin|CLCD_D2_Pin|CLCD_D3_Pin
                          |CLCD_EN_Pin|CLCD_RS_Pin, GPIO_PIN_RESET);

  /*Configure GPIO pin Output Level */
  HAL_GPIO_WritePin(GPIOA, LED1_Pin|LED2_Pin|LED3_Pin|LED4_Pin, GPIO_PIN_RESET);

  /*Configure GPIO pin Output Level */
  HAL_GPIO_WritePin(SPI2_CS_GPIO_Port, SPI2_CS_Pin, GPIO_PIN_RESET);

  /*Configure GPIO pins : CLCD_D0_Pin CLCD_D1_Pin CLCD_D2_Pin CLCD_D3_Pin
                           CLCD_EN_Pin CLCD_RS_Pin */
  GPIO_InitStruct.Pin = CLCD_D0_Pin|CLCD_D1_Pin|CLCD_D2_Pin|CLCD_D3_Pin
                          |CLCD_EN_Pin|CLCD_RS_Pin;
  GPIO_InitStruct.Mode = GPIO_MODE_OUTPUT_PP;
  GPIO_InitStruct.Pull = GPIO_NOPULL;
  GPIO_InitStruct.Speed = GPIO_SPEED_FREQ_LOW;
  HAL_GPIO_Init(GPIOC, &GPIO_InitStruct);

  /*Configure GPIO pins : LED1_Pin LED2_Pin LED3_Pin LED4_Pin */
  GPIO_InitStruct.Pin = LED1_Pin|LED2_Pin|LED3_Pin|LED4_Pin;
  GPIO_InitStruct.Mode = GPIO_MODE_OUTPUT_PP;
  GPIO_InitStruct.Pull = GPIO_NOPULL;
  GPIO_InitStruct.Speed = GPIO_SPEED_FREQ_LOW;
  HAL_GPIO_Init(GPIOA, &GPIO_InitStruct);

  /*Configure GPIO pins : SW1_Pin SW2_Pin SW3_Pin SW4_Pin */
  GPIO_InitStruct.Pin = SW1_Pin|SW2_Pin|SW3_Pin|SW4_Pin;
  GPIO_InitStruct.Mode = GPIO_MODE_INPUT;
  GPIO_InitStruct.Pull = GPIO_NOPULL;
  HAL_GPIO_Init(GPIOB, &GPIO_InitStruct);

  /*Configure GPIO pin : SPI2_CS_Pin */
  GPIO_InitStruct.Pin = SPI2_CS_Pin;
  GPIO_InitStruct.Mode = GPIO_MODE_OUTPUT_PP;
  GPIO_InitStruct.Pull = GPIO_NOPULL;
  GPIO_InitStruct.Speed = GPIO_SPEED_FREQ_LOW;
  HAL_GPIO_Init(SPI2_CS_GPIO_Port, &GPIO_InitStruct);

  /*Configure GPIO pin : ENCODER_SW_Pin */
  GPIO_InitStruct.Pin = ENCODER_SW_Pin;
  GPIO_InitStruct.Mode = GPIO_MODE_IT_FALLING;
  GPIO_InitStruct.Pull = GPIO_NOPULL;
  HAL_GPIO_Init(ENCODER_SW_GPIO_Port, &GPIO_InitStruct);

  /*Configure GPIO pin : B_SIG_Pin */
  GPIO_InitStruct.Pin = B_SIG_Pin;
  GPIO_InitStruct.Mode = GPIO_MODE_IT_RISING;
  GPIO_InitStruct.Pull = GPIO_NOPULL;
  HAL_GPIO_Init(B_SIG_GPIO_Port, &GPIO_InitStruct);

  /*Configure GPIO pin : A_SIG_Pin */
  GPIO_InitStruct.Pin = A_SIG_Pin;
  GPIO_InitStruct.Mode = GPIO_MODE_IT_RISING;
  GPIO_InitStruct.Pull = GPIO_NOPULL;
  HAL_GPIO_Init(A_SIG_GPIO_Port, &GPIO_InitStruct);

  /* EXTI interrupt init*/
  HAL_NVIC_SetPriority(EXTI9_5_IRQn, 0, 0);
  HAL_NVIC_EnableIRQ(EXTI9_5_IRQn);

  HAL_NVIC_SetPriority(EXTI15_10_IRQn, 0, 0);
  HAL_NVIC_EnableIRQ(EXTI15_10_IRQn);

}

/* USER CODE BEGIN 4 */
void HAL_UART_RxCpltCallback (UART_HandleTypeDef *huart)
{
	if (huart->Instance == USART1)
	{
	    if (RX_flag1 == 1)
	    {
	        // 메인 루프가 아직 이전 패킷을 해석 중 → 버퍼를 덮어쓰지 않도록 이 바이트는 버림
	    }
	    else if (rx_index1 == 0)
	    {
	        if (rx_data1 == 0x02)
	        {
	            rx_buffer1[rx_index1++] = rx_data1;
	            calculate_cout = 0; // 새 패킷 시작 → 이전 패킷의 길이 계산 상태를 지움
	        }
	    }
	    else
	    {
	        rx_buffer1[rx_index1++] = rx_data1;

	        // 데이터 안에 0x03이 섞여도 잘리지 않도록, 길이 바이트(rx_buffer1[3])로 ETX 위치를 계산
	        if (rx_index1 >= 4)
	        {
	            if (calculate_cout == 0)
	            {
	                packet_length = rx_buffer1[3] + 4; // STX, R/W, 장치, 길이 4바이트 + 데이터
	                calculate_cout = 1;

	                if (packet_length >= sizeof(rx_buffer1)) // 길이가 버퍼보다 크면 버리고 다시 STX부터
	                {
	                    rx_index1 = 0;
	                    calculate_cout = 0;
	                }
	            }

	            // ETX 자리까지 다 받았을 때만 판단 (이전 패킷의 값이 남아 있는 칸을 읽지 않도록)
	            if ((calculate_cout == 1) && (rx_index1 == packet_length + 1))
	            {
	                if (rx_buffer1[packet_length] == 0x03)
	                {
	                    RX_flag1 = 1;
	                }
	                else
	                {
	                    rx_index1 = 0; // ETX 자리가 아니면 버리고 다시 STX부터
	                }
	                calculate_cout = 0;
	            }
	        }
	    }
	    HAL_UART_Receive_IT(&huart1, &rx_data1, 1);
	}

    if (huart->Instance == USART2)
    {
    	if((rx_data2=='\r')||(rx_data2=='\n'))
    	{
        	if(rx_index2 > 0)
        	{
				rx_buffer2[rx_index2] = '\0'; //rx_index을 늘릴 필요x , 문자열의 끝 널을 abc'0'로 만들었음
				rx_index2 = 0;	//rx_index 이제 또 받아야하니 초기화
				RX_flag2 = 1;
        	}
    	}
    	else
    	{
    		rx_buffer2[rx_index2++] = (char)rx_data2; //rx_index++ = index++
    	}
    	HAL_UART_Receive_IT(&huart2, &rx_data2, 1);
    }
}

void HAL_GPIO_EXTI_Callback(uint16_t GPIO_Pin)
{
    switch (GPIO_Pin)
    {
		case ENCODER_SW_Pin:
			E_count =0;
			break;
		case A_SIG_Pin:
			if(!HAL_GPIO_ReadPin(B_SIG_GPIO_Port, B_SIG_Pin))
			E_count++;
			break;
		case B_SIG_Pin:
			if(!HAL_GPIO_ReadPin(A_SIG_GPIO_Port, A_SIG_Pin))
			E_count--;
			break;
    }
}

void HAL_TIM_PeriodElapsedCallback(TIM_HandleTypeDef *htim)
{
	TimerCount++;

	if(TimerCount == 50)
	{
		TimerCount = 0;
		act_mode = 1;
	}
}

/* USER CODE END 4 */

void Error_Handler(void)
{
  __disable_irq();
  while (1)
  {
  }
}
